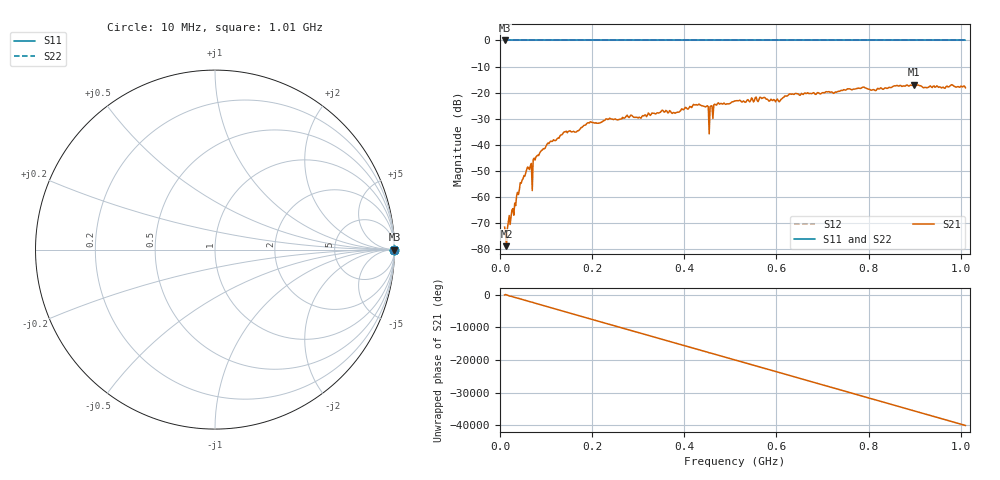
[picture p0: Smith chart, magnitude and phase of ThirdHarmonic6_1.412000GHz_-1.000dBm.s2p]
! 8/16/2025 4:11:54 PM
! C:\ANRITSUVNA\TEMP\TEMP.S2P
! CHANNEL.1
! TR.MEASUREMENT
! RAW.DATA
! RF.CORRECTION.OFF
! AVERAGING.OFF
! IF.BANDWIDTH: 5KHZ
! SWEEPTYPE:  FREQ.SWEEP(Linear)
! Reference Plane Port Info
! PORT:  PORT1  PORT2
! DISTANCE:  0  m  0  m
! TIME:  0  s  0  s
! PHASE.OFFSET:  0  deg.  0  deg.
! LOSS:  0  dB  0  dB
! REF.LOSS:  0  dB  0  dB
! REF.FREQ:  0  Hz  0  Hz
! Power Info
! POWER:  -20  dBm  -20  dBm
! EFF.POWER:  -20  dBm  -20  dBm
! SOURCE.ATTEN:  0  dB  0  dB
! TEST.ATTEN:  0  dB  0  dB
# GHZ S RI R 50.0
! FREQ.GHZ  S11RE  S11IM  S21RE  S21IM  S12RE  S12IM  S22RE  S22IM
!; PortSelection: Port_12
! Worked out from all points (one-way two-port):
!   501 points, 10 MHz to 1.01 GHz, reference 50 ohm
!   highest |S21| = -16.95 dB at 898 MHz (marker M1); lowest = -78.9 dB at 14 MHz (marker M2)
!   lowest |S11| = 0.0 dB at 10 MHz (marker M3)
!   |S11| at or under -10 dB: nowhere
!   |S22| runs from 0.0 to 0.0 dB; largest |S21 - S12| = 1.1
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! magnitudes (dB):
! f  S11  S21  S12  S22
! 10 MHz  0.0  -71.6  0.0  0.0
! 14 MHz  0.0  -78.9  0.0  0.0
! 48 MHz  0.0  -53.6  0.0  0.0
! 64 MHz  0.0  -49.5  0.0  0.0
! 66 MHz  0.0  -48.0  0.0  0.0
! 74 MHz  0.0  -45.1  0.0  0.0
! 76 MHz  0.0  -45.8  0.0  0.0
! 140 MHz  0.0  -35.0  0.0  0.0
! 178 MHz  0.0  -33.3  0.0  0.0
! 344 MHz  0.0  -27.8  0.0  0.0
! 430 MHz  0.0  -24.7  0.0  0.0
! 448 MHz  0.0  -25.2  0.0  0.0
! 450 MHz  0.0  -25.1  0.0  0.0
! 458 MHz  0.0  -25.1  0.0  0.0
! 460 MHz  0.0  -25.1  0.0  0.0
! 468 MHz  0.0  -24.7  0.0  0.0
! 510 MHz  0.0  -23.2  0.0  0.0
! 602 MHz  0.0  -22.5  0.0  0.0
! 678 MHz  0.0  -20.3  0.0  0.0
! 844 MHz  0.0  -18.0  0.0  0.0
! 898 MHz  0.0  -16.9  0.0  0.0
! 1.01 GHz  0.0  -18.1  0.0  0.0
